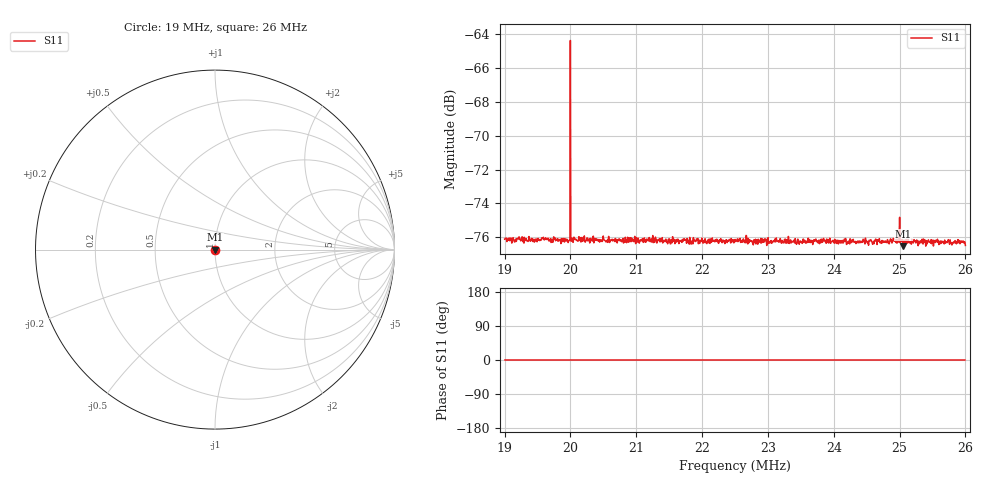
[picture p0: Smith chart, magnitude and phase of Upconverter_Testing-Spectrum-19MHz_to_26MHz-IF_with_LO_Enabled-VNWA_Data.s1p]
! ListType=Lin
# MHz S DB R 50
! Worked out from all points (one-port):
!   1024 points, 19 MHz to 26 MHz, reference 50 ohm
!   lowest |S11| = -76.5 dB at 25.06 MHz (marker M1), VSWR 1.00, Z = 50 + j0 ohm
!   |S11| at or under -10 dB: start of sweep to end of sweep
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19  -76.12 0.0
19.87586  -76.13 0.0
19.95797  -76.20 0.0
19.96481  -76.32 0.0
20.03324  -76.10 0.0
20.04008  -76.31 0.0
20.75171  -76.22 0.0
21.62757  -76.23 0.0
21.75073  -76.15 0.0
21.826  -76.26 0.0
21.90127  -76.25 0.0
22.08602  -76.17 0.0
22.18866  -76.26 0.0
22.50342  -76.14 0.0
22.78397  -76.36 0.0
22.92766  -76.14 0.0
23.04399  -76.33 0.0
23.37928  -76.26 0.0
24.25513  -76.22 0.0
24.65885  -76.44 0.0
24.80938  -76.33 0.0
24.95308  -76.34 0.0
24.96676  -76.34 0.0
25.01466  -76.25 0.0
25.05572  -76.54 0.0
25.13099  -76.14 0.0
25.93157  -76.23 0.0
26  -76.49 0.0
